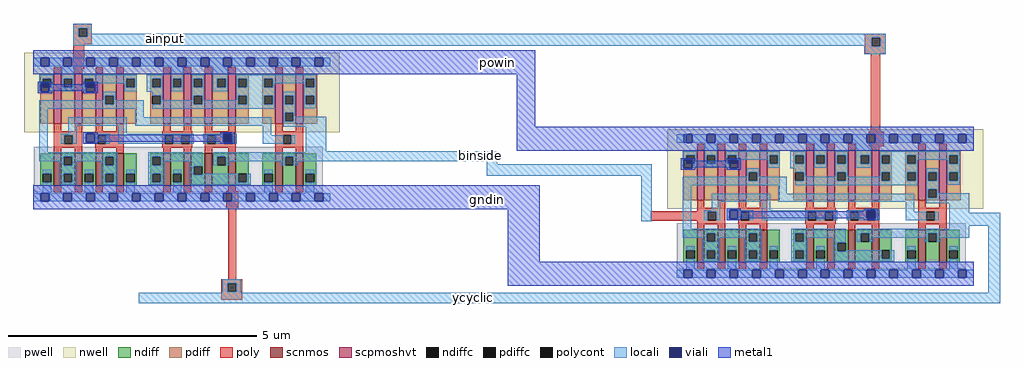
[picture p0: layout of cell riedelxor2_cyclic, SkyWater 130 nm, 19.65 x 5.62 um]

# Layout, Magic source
magic
tech sky130A
magscale 1 2
<< poly >>
rect 160 681 234 698
rect 160 647 183 681
rect 217 647 234 681
rect 160 616 234 647
rect 3348 643 3432 658
rect 160 518 204 616
rect 3348 609 3375 643
rect 3409 609 3432 643
rect 3348 578 3432 609
rect 3372 264 3410 578
rect 3364 206 3424 264
rect 776 -42 824 24
rect 784 -330 816 -42
rect 2486 -94 2678 -56
rect 756 -347 840 -330
rect 756 -381 783 -347
rect 817 -381 840 -347
rect 756 -412 840 -381
<< polycont >>
rect 183 647 217 681
rect 3375 609 3409 643
rect 783 -381 817 -347
<< locali >>
rect 160 681 234 698
rect 160 647 183 681
rect 217 658 234 681
rect 217 647 3432 658
rect 160 643 3432 647
rect 160 610 3375 643
rect 3346 609 3375 610
rect 3409 609 3432 643
rect 3346 576 3432 609
rect 1162 146 1868 186
rect 1826 132 1868 146
rect 1826 86 2490 132
rect 2448 -96 2490 86
rect 3758 -114 3892 -62
rect 760 -347 834 -330
rect 760 -381 783 -347
rect 817 -381 834 -347
rect 760 -384 834 -381
rect 3844 -384 3892 -114
rect 424 -426 3892 -384
<< metal1 >>
rect 1190 496 2020 592
rect 1946 284 2020 496
rect 1946 188 2630 284
rect 1194 -48 2038 48
rect 1910 -260 2038 -48
rect 1910 -356 2596 -260
use xor2  xor2_1
transform 1 0 2590 0 1 -308
box -38 -48 1234 592
use xor2  xor2_0
transform 1 0 0 0 1 0
box -38 -48 1234 592
<< labels >>
rlabel locali 522 634 542 648 1 ainput
port 1 n
rlabel locali 1790 160 1810 174 1 binside
port 2 n
rlabel locali 1760 -410 1780 -396 1 ycyclic
port 3 n
rlabel metal1 1858 534 1878 548 1 powin
port 4 n
rlabel metal1 1818 -14 1838 0 1 gndin
port 5 n
<< end >>

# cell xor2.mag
magic
tech sky130A
magscale 1 2
<< nwell >>
rect -38 261 1234 582
<< pwell >>
rect 1 21 1165 203
rect 29 -17 63 21
<< scnmos >>
rect 82 47 112 177
rect 166 47 196 177
rect 250 47 280 177
rect 334 47 364 177
rect 522 47 552 177
rect 606 47 636 177
rect 690 47 720 177
rect 785 47 815 177
rect 973 47 1003 177
rect 1057 47 1087 177
<< scpmoshvt >>
rect 82 297 112 497
rect 166 297 196 497
rect 250 297 280 497
rect 334 297 364 497
rect 522 297 552 497
rect 606 297 636 497
rect 690 297 720 497
rect 785 297 815 497
rect 973 297 1003 497
rect 1057 297 1087 497
<< ndiff >>
rect 27 95 82 177
rect 27 61 38 95
rect 72 61 82 95
rect 27 47 82 61
rect 112 163 166 177
rect 112 129 122 163
rect 156 129 166 163
rect 112 95 166 129
rect 112 61 122 95
rect 156 61 166 95
rect 112 47 166 61
rect 196 95 250 177
rect 196 61 206 95
rect 240 61 250 95
rect 196 47 250 61
rect 280 163 334 177
rect 280 129 290 163
rect 324 129 334 163
rect 280 95 334 129
rect 280 61 290 95
rect 324 61 334 95
rect 280 47 334 61
rect 364 95 416 177
rect 364 61 374 95
rect 408 61 416 95
rect 364 47 416 61
rect 470 163 522 177
rect 470 129 478 163
rect 512 129 522 163
rect 470 95 522 129
rect 470 61 478 95
rect 512 61 522 95
rect 470 47 522 61
rect 552 95 606 177
rect 552 61 562 95
rect 596 61 606 95
rect 552 47 606 61
rect 636 125 690 177
rect 636 91 646 125
rect 680 91 690 125
rect 636 47 690 91
rect 720 163 785 177
rect 720 129 741 163
rect 775 129 785 163
rect 720 47 785 129
rect 815 95 867 177
rect 815 61 825 95
rect 859 61 867 95
rect 815 47 867 61
rect 921 95 973 177
rect 921 61 929 95
rect 963 61 973 95
rect 921 47 973 61
rect 1003 163 1057 177
rect 1003 129 1013 163
rect 1047 129 1057 163
rect 1003 47 1057 129
rect 1087 95 1139 177
rect 1087 61 1097 95
rect 1131 61 1139 95
rect 1087 47 1139 61
<< pdiff >>
rect 27 477 82 497
rect 27 443 38 477
rect 72 443 82 477
rect 27 297 82 443
rect 112 477 166 497
rect 112 443 122 477
rect 156 443 166 477
rect 112 297 166 443
rect 196 477 250 497
rect 196 443 206 477
rect 240 443 250 477
rect 196 297 250 443
rect 280 409 334 497
rect 280 375 290 409
rect 324 375 334 409
rect 280 297 334 375
rect 364 477 416 497
rect 364 443 374 477
rect 408 443 416 477
rect 364 297 416 443
rect 470 477 522 497
rect 470 443 478 477
rect 512 443 522 477
rect 470 409 522 443
rect 470 375 478 409
rect 512 375 522 409
rect 470 297 522 375
rect 552 477 606 497
rect 552 443 562 477
rect 596 443 606 477
rect 552 297 606 443
rect 636 477 690 497
rect 636 443 646 477
rect 680 443 690 477
rect 636 409 690 443
rect 636 375 646 409
rect 680 375 690 409
rect 636 297 690 375
rect 720 477 785 497
rect 720 443 741 477
rect 775 443 785 477
rect 720 297 785 443
rect 815 477 867 497
rect 815 443 825 477
rect 859 443 867 477
rect 815 409 867 443
rect 815 375 825 409
rect 859 375 867 409
rect 815 297 867 375
rect 921 477 973 497
rect 921 443 929 477
rect 963 443 973 477
rect 921 409 973 443
rect 921 375 929 409
rect 963 375 973 409
rect 921 297 973 375
rect 1003 409 1057 497
rect 1003 375 1013 409
rect 1047 375 1057 409
rect 1003 341 1057 375
rect 1003 307 1013 341
rect 1047 307 1057 341
rect 1003 297 1057 307
rect 1087 477 1143 497
rect 1087 443 1097 477
rect 1131 443 1143 477
rect 1087 409 1143 443
rect 1087 375 1097 409
rect 1131 375 1143 409
rect 1087 297 1143 375
<< ndiffc >>
rect 38 61 72 95
rect 122 129 156 163
rect 122 61 156 95
rect 206 61 240 95
rect 290 129 324 163
rect 290 61 324 95
rect 374 61 408 95
rect 478 129 512 163
rect 478 61 512 95
rect 562 61 596 95
rect 646 91 680 125
rect 741 129 775 163
rect 825 61 859 95
rect 929 61 963 95
rect 1013 129 1047 163
rect 1097 61 1131 95
<< pdiffc >>
rect 38 443 72 477
rect 122 443 156 477
rect 206 443 240 477
rect 290 375 324 409
rect 374 443 408 477
rect 478 443 512 477
rect 478 375 512 409
rect 562 443 596 477
rect 646 443 680 477
rect 646 375 680 409
rect 741 443 775 477
rect 825 443 859 477
rect 825 375 859 409
rect 929 443 963 477
rect 929 375 963 409
rect 1013 375 1047 409
rect 1013 307 1047 341
rect 1097 443 1131 477
rect 1097 375 1131 409
<< poly >>
rect 82 497 112 523
rect 166 497 196 523
rect 250 497 280 523
rect 334 497 364 523
rect 522 497 552 523
rect 606 497 636 523
rect 690 497 720 523
rect 785 497 815 523
rect 973 497 1003 523
rect 1057 497 1087 523
rect 82 265 112 297
rect 166 265 196 297
rect 250 265 280 297
rect 334 265 364 297
rect 522 265 552 297
rect 606 265 636 297
rect 690 265 720 297
rect 785 265 815 297
rect 82 249 196 265
rect 82 215 125 249
rect 159 215 196 249
rect 82 199 196 215
rect 248 249 364 265
rect 248 215 258 249
rect 292 215 364 249
rect 248 199 364 215
rect 518 249 640 265
rect 518 215 528 249
rect 562 215 596 249
rect 630 215 640 249
rect 518 199 640 215
rect 690 249 815 265
rect 690 215 700 249
rect 734 215 768 249
rect 802 215 815 249
rect 690 199 815 215
rect 82 177 112 199
rect 166 177 196 199
rect 250 177 280 199
rect 334 177 364 199
rect 522 177 552 199
rect 606 177 636 199
rect 690 177 720 199
rect 785 177 815 199
rect 973 265 1003 297
rect 1057 265 1087 297
rect 973 249 1087 265
rect 973 215 1005 249
rect 1039 215 1087 249
rect 973 199 1087 215
rect 973 177 1003 199
rect 1057 177 1087 199
rect 82 21 112 47
rect 166 21 196 47
rect 250 21 280 47
rect 334 21 364 47
rect 522 21 552 47
rect 606 21 636 47
rect 690 21 720 47
rect 785 21 815 47
rect 973 21 1003 47
rect 1057 21 1087 47
<< polycont >>
rect 125 215 159 249
rect 258 215 292 249
rect 528 215 562 249
rect 596 215 630 249
rect 700 215 734 249
rect 768 215 802 249
rect 1005 215 1039 249
<< locali >>
rect 0 527 29 561
rect 63 527 121 561
rect 155 527 213 561
rect 247 527 305 561
rect 339 527 397 561
rect 431 527 489 561
rect 523 527 581 561
rect 615 527 673 561
rect 707 527 765 561
rect 799 527 857 561
rect 891 527 949 561
rect 983 527 1041 561
rect 1075 527 1133 561
rect 1167 527 1196 561
rect 24 477 80 493
rect 24 459 38 477
rect 24 427 29 459
rect 72 443 80 477
rect 63 427 80 443
rect 114 477 164 527
rect 114 443 122 477
rect 156 443 164 477
rect 114 427 164 443
rect 198 477 416 493
rect 198 443 206 477
rect 240 459 374 477
rect 198 427 213 443
rect 247 427 248 459
rect 366 443 374 459
rect 408 443 416 477
rect 366 427 416 443
rect 457 477 520 493
rect 457 443 478 477
rect 512 443 520 477
rect 457 425 520 443
rect 554 477 604 527
rect 554 443 562 477
rect 596 443 604 477
rect 554 427 604 443
rect 638 477 688 493
rect 638 443 646 477
rect 680 443 688 477
rect 282 409 332 425
rect 282 391 290 409
rect 24 375 290 391
rect 324 391 332 409
rect 478 409 520 425
rect 324 375 444 391
rect 24 357 444 375
rect 512 391 520 409
rect 638 409 688 443
rect 722 477 783 527
rect 722 443 741 477
rect 775 443 783 477
rect 722 427 783 443
rect 817 477 1139 493
rect 817 443 825 477
rect 859 443 929 477
rect 963 459 1097 477
rect 963 443 971 459
rect 638 391 646 409
rect 512 375 646 391
rect 680 391 688 409
rect 817 409 971 443
rect 1089 443 1097 459
rect 1131 443 1139 477
rect 817 391 825 409
rect 680 375 825 391
rect 859 375 929 409
rect 963 375 971 409
rect 478 357 971 375
rect 1005 409 1055 425
rect 1005 375 1013 409
rect 1047 375 1055 409
rect 24 181 58 357
rect 410 323 444 357
rect 1005 341 1055 375
rect 1089 409 1139 443
rect 1089 375 1097 409
rect 1131 375 1139 409
rect 1089 359 1139 375
rect 141 289 376 323
rect 410 289 957 323
rect 141 255 175 289
rect 342 255 376 289
rect 109 249 175 255
rect 109 215 125 249
rect 159 215 175 249
rect 209 221 213 255
rect 247 249 308 255
rect 247 221 258 249
rect 209 215 258 221
rect 292 215 308 249
rect 342 249 646 255
rect 342 215 528 249
rect 562 215 596 249
rect 630 215 646 249
rect 684 249 765 255
rect 799 249 818 255
rect 684 215 700 249
rect 734 221 765 249
rect 734 215 768 221
rect 802 215 818 249
rect 923 249 957 289
rect 1005 307 1013 341
rect 1047 325 1055 341
rect 1047 307 1179 325
rect 1005 283 1179 307
rect 923 215 1005 249
rect 1039 215 1055 249
rect 1097 181 1179 283
rect 24 163 340 181
rect 24 145 122 163
rect 106 129 122 145
rect 156 145 290 163
rect 156 129 172 145
rect 38 95 72 111
rect 38 17 72 61
rect 106 95 172 129
rect 274 129 290 145
rect 324 129 340 163
rect 106 61 122 95
rect 156 61 172 95
rect 106 51 172 61
rect 206 95 240 111
rect 206 17 240 61
rect 274 95 340 129
rect 462 163 680 181
rect 462 129 478 163
rect 512 145 680 163
rect 512 129 528 145
rect 274 61 290 95
rect 324 61 340 95
rect 274 51 340 61
rect 374 95 408 111
rect 374 17 408 61
rect 462 95 528 129
rect 630 125 680 145
rect 725 163 1179 181
rect 725 129 741 163
rect 775 145 1013 163
rect 775 129 791 145
rect 997 129 1013 145
rect 1047 145 1179 163
rect 1047 129 1063 145
rect 462 61 478 95
rect 512 61 528 95
rect 462 51 528 61
rect 562 95 596 111
rect 562 17 596 61
rect 630 91 646 125
rect 929 95 963 111
rect 680 91 825 95
rect 630 61 825 91
rect 859 61 876 95
rect 630 51 876 61
rect 929 17 963 61
rect 1097 95 1131 111
rect 1097 17 1131 61
rect 0 -17 29 17
rect 63 -17 121 17
rect 155 -17 213 17
rect 247 -17 305 17
rect 339 -17 397 17
rect 431 -17 489 17
rect 523 -17 581 17
rect 615 -17 673 17
rect 707 -17 765 17
rect 799 -17 857 17
rect 891 -17 949 17
rect 983 -17 1041 17
rect 1075 -17 1133 17
rect 1167 -17 1196 17
<< viali >>
rect 29 527 63 561
rect 121 527 155 561
rect 213 527 247 561
rect 305 527 339 561
rect 397 527 431 561
rect 489 527 523 561
rect 581 527 615 561
rect 673 527 707 561
rect 765 527 799 561
rect 857 527 891 561
rect 949 527 983 561
rect 1041 527 1075 561
rect 1133 527 1167 561
rect 29 443 38 459
rect 38 443 63 459
rect 29 425 63 443
rect 213 443 240 459
rect 240 443 247 459
rect 213 425 247 443
rect 213 221 247 255
rect 765 249 799 255
rect 765 221 768 249
rect 768 221 799 249
rect 29 -17 63 17
rect 121 -17 155 17
rect 213 -17 247 17
rect 305 -17 339 17
rect 397 -17 431 17
rect 489 -17 523 17
rect 581 -17 615 17
rect 673 -17 707 17
rect 765 -17 799 17
rect 857 -17 891 17
rect 949 -17 983 17
rect 1041 -17 1075 17
rect 1133 -17 1167 17
<< metal1 >>
rect 0 561 1196 592
rect 0 527 29 561
rect 63 527 121 561
rect 155 527 213 561
rect 247 527 305 561
rect 339 527 397 561
rect 431 527 489 561
rect 523 527 581 561
rect 615 527 673 561
rect 707 527 765 561
rect 799 527 857 561
rect 891 527 949 561
rect 983 527 1041 561
rect 1075 527 1133 561
rect 1167 527 1196 561
rect 0 496 1196 527
rect 17 459 75 465
rect 17 425 29 459
rect 63 456 75 459
rect 201 459 259 465
rect 201 456 213 459
rect 63 428 213 456
rect 63 425 75 428
rect 17 419 75 425
rect 201 425 213 428
rect 247 425 259 459
rect 201 419 259 425
rect 201 255 259 261
rect 201 221 213 255
rect 247 252 259 255
rect 753 255 811 261
rect 753 252 765 255
rect 247 224 765 252
rect 247 221 259 224
rect 201 215 259 221
rect 753 221 765 224
rect 799 221 811 255
rect 753 215 811 221
rect 0 17 1196 48
rect 0 -17 29 17
rect 63 -17 121 17
rect 155 -17 213 17
rect 247 -17 305 17
rect 339 -17 397 17
rect 431 -17 489 17
rect 523 -17 581 17
rect 615 -17 673 17
rect 707 -17 765 17
rect 799 -17 857 17
rect 891 -17 949 17
rect 983 -17 1041 17
rect 1075 -17 1133 17
rect 1167 -17 1196 17
rect 0 -48 1196 -17
<< labels >>
flabel metal1 s 28 526 62 560 0 FreeSans 200 0 0 0 VPWR
flabel metal1 s 28 -16 62 16 0 FreeSans 200 0 0 0 VGND
flabel locali s 1132 288 1166 322 0 FreeSans 400 0 0 0 X
flabel locali s 764 220 798 254 0 FreeSans 400 0 0 0 B
flabel locali s 212 288 246 322 0 FreeSans 400 0 0 0 A
flabel nwell s 28 526 62 560 0 FreeSans 200 0 0 0 VPB
flabel pwell s 28 -16 62 16 0 FreeSans 200 0 0 0 VNB
rlabel comment s 0 0 0 0 4 xor2_2
<< properties >>
string FIXED_BBOX 0 0 1196 544
string path 0.000 5.440 11.960 5.440 
<< end >>
